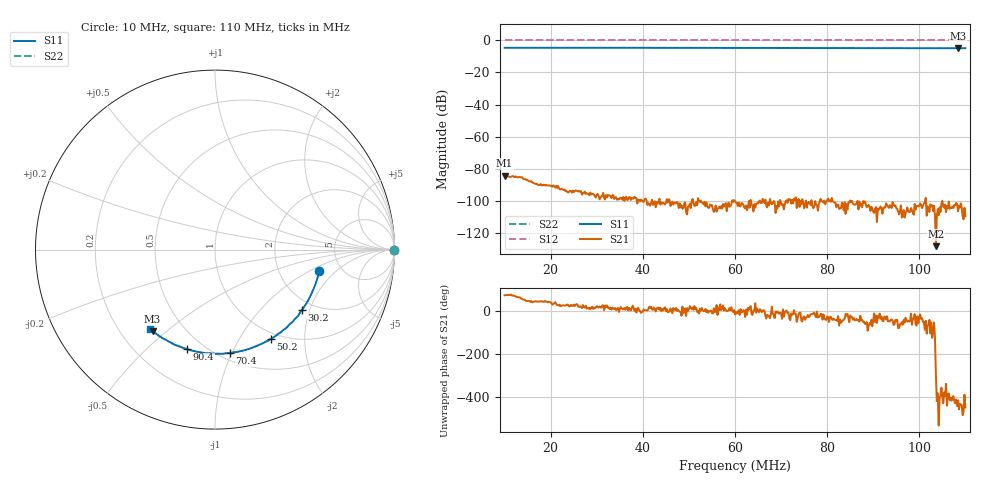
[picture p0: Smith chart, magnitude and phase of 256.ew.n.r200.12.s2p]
! Anritsu VNA Master:  Model: MS2036C/10/77
! SN:  1601066
! /card0/usr/256.ew.n.r200.12.s2p
! Existing Calibration Information:
! TYPE:  Current Settings,  Active Cal Settings
! TIME:  12/19/2017 03:02:42 PM,  12/19/2017 02:53:44 PM
! INTERNAL TEMP:  46.8 C,  46.3 C
! # POINTS:  501,  501
! START FREQ:  10.000 MHz,  10.000 MHz
! STOP FREQ:  110.000 MHz,  110.000 MHz
! SOURCE POWER:  High,  High
! IFBW:  100 Hz,  100 Hz
! AVG FACTOR:  1 ,  1
! REF PLANE 1:  0 mm,  0 mm
! REF PLANE 2:  0 mm,  0 mm
! CAL TYPE:  Full S11,  Full S11
! CAL METHOD:  SOLT,  SOLT
! CAL LINE TYPE:  Coax,  Coax
! DUT PORT 1:  N-Conn(F),  N-Conn(F)
! DUT PORT 2:  K-Conn(F),  K-Conn(F)
! CAL STATUS:  OK: Accuracy High,  --
# GHZ S DB R 50.0
! FREQ.GHZ  S11DB  S11A  S21DB  S21A  S12DB  S12A  S22DB  S22A
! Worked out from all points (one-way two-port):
!   501 points, 10 MHz to 110 MHz, reference 50 ohm
!   highest |S21| = -84.36 dB at 10 MHz (marker M1); lowest = -128.5 dB at 103.6 MHz (marker M2)
!   lowest |S11| = -4.9 dB at 108.4 MHz (marker M3), VSWR 3.66, Z = 16.7 - j22.4 ohm
!   |S11| at or under -10 dB: nowhere
!   |S22| runs from 0.0 to 0.0 dB; largest |S21 - S12| = 1
!   S11 on the Smith chart (normalised r, x): 10 MHz: 3.42, -1.23; 30.2 MHz: 1.72, -1.77; 50.2 MHz: 0.91, -1.37; 70.4 MHz: 0.56, -0.98; 90.4 MHz: 0.41, -0.67; 110 MHz: 0.33, -0.43
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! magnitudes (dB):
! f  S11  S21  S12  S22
! 10 MHz  -4.6  -84.4  0.0  0.0
! 26.8 MHz  -4.6  -96.3  0.0  0.0
! 30.2 MHz  -4.6  -95.8  0.0  0.0
! 31.2 MHz  -4.6  -97.2  0.0  0.0
! 33.2 MHz  -4.6  -98.5  0.0  0.0
! 35.4 MHz  -4.6  -98.2  0.0  0.0
! 37.2 MHz  -4.6  -97.9  0.0  0.0
! 38.8 MHz  -4.6  -101.8  0.0  0.0
! 40.6 MHz  -4.6  -98.7  0.0  0.0
! 43.4 MHz  -4.6  -100.9  0.0  0.0
! 50.2 MHz  -4.6  -101.9  0.0  0.0
! 51.8 MHz  -4.6  -102.9  0.0  0.0
! 53.4 MHz  -4.6  -100.7  0.0  0.0
! 60 MHz  -4.7  -100.5  0.0  0.0
! 70.4 MHz  -4.7  -102.3  0.0  0.0
! 76.8 MHz  -4.7  -103.4  0.0  0.0
! 81.6 MHz  -4.7  -101.2  0.0  0.0
! 90.4 MHz  -4.8  -105.1  0.0  0.0
! 93.4 MHz  -4.8  -104.6  0.0  0.0
! 103.6 MHz  -4.8  -128.5  0.0  0.0
! 108.4 MHz  -4.9  -106.7  0.0  0.0
! 110 MHz  -4.9  -109.8  0.0  0.0
